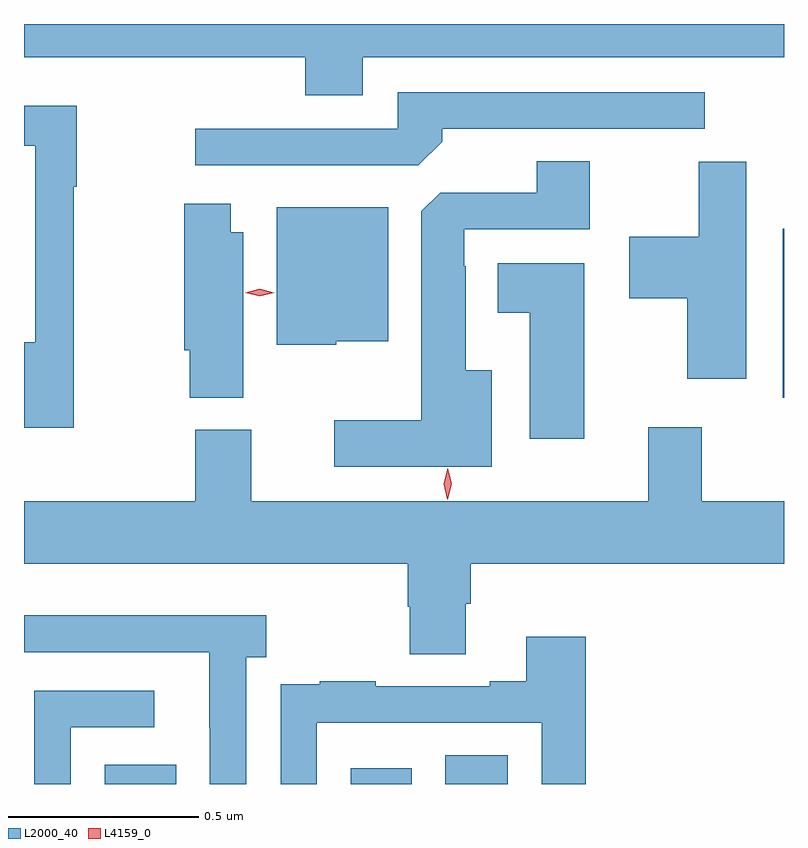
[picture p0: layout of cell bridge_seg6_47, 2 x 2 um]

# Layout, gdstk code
import gdstk
lib = gdstk.Library(unit=1e-6, precision=1e-09)
def R(c, l, rs):  # rectangles x0, y0, x1, y1
    for r in rs: c.add(gdstk.rectangle(r[:2], r[2:], *l))
def P(c, l, *ps):  # polygons
    for p in ps: c.add(gdstk.Polygon(p, *l))
L2000_40 = (2000, 40)
L4159_0 = (4159, 0)

bridge_seg6_47 = lib.new_cell('bridge_seg6_47')
R(bridge_seg6_47, L2000_40, [(1066.229,988.048,1066.417,988.099), (1066.877,988.048,1067.038,988.09), (1067.126,988.048,1067.29,988.124), (1068.014,989.065,1068.017,989.509)])
P(bridge_seg6_47, L2000_40, [(1066.909,989.96),(1068.017,989.96),(1068.017,990.048),(1066.017,990.048),(1066.017,989.96),(1066.757,989.96),(1066.757,989.861),(1066.909,989.861)],
  [(1067.117,989.738),(1067.117,989.772),(1067.809,989.772),(1067.809,989.868),(1067.001,989.868),(1067.001,989.772),(1066.467,989.772),(1066.467,989.676),(1067.055,989.676)],
  [(1066.148,989.62),(1066.156,989.62),(1066.156,989.833),(1066.017,989.833),(1066.017,989.727),(1066.047,989.727),(1066.047,989.211),(1066.017,989.211),(1066.017,988.986),(1066.148,988.986)],
  [(1067.248,989.137),(1067.179,989.137),(1067.179,989.411),(1067.175,989.411),(1067.175,989.508),(1067.506,989.508),(1067.506,989.687),(1067.366,989.687),(1067.366,989.604),(1067.112,989.604),(1067.063,989.555),(1067.063,989.005),(1066.833,989.005),(1066.833,988.883),(1067.248,988.883)],
  [(1067.917,989.686),(1067.792,989.686),(1067.792,989.488),(1067.61,989.488),(1067.61,989.326),(1067.762,989.326),(1067.762,989.115),(1067.917,989.115)],
  [(1066.594,989.5),(1066.561,989.5),(1066.561,989.575),(1066.439,989.575),(1066.439,989.19),(1066.453,989.19),(1066.453,989.065),(1066.594,989.065)],
  [(1066.839,989.213),(1066.975,989.213),(1066.975,989.566),(1066.682,989.566),(1066.682,989.204),(1066.839,989.204)],
  [(1067.491,989.419),(1067.264,989.419),(1067.264,989.288),(1067.348,989.288),(1067.348,988.956),(1067.491,988.956)],
  [(1067.179,988.522),(1067.192,988.522),(1067.192,988.628),(1068.017,988.628),(1068.017,988.792),(1067.8,988.792),(1067.8,988.987),(1067.66,988.987),(1067.66,988.792),(1066.615,988.792),(1066.615,988.98),(1066.468,988.98),(1066.468,988.792),(1066.017,988.792),(1066.017,988.628),(1067.027,988.628),(1067.027,988.515),(1067.032,988.515),(1067.032,988.39),(1067.179,988.39)],
  [(1066.602,988.382),(1066.654,988.382),(1066.654,988.492),(1066.017,988.492),(1066.017,988.395),(1066.505,988.395),(1066.505,988.195),(1066.506,988.195),(1066.506,988.048),(1066.602,988.048)],
  [(1066.788,988.209),(1067.379,988.209),(1067.379,988.048),(1067.495,988.048),(1067.495,988.435),(1067.339,988.435),(1067.339,988.318),(1067.243,988.318),(1067.243,988.305),(1066.943,988.305),(1066.943,988.318),(1066.795,988.318),(1066.795,988.311),(1066.693,988.311),(1066.693,988.202),(1066.692,988.202),(1066.692,988.048),(1066.788,988.048)],
  [(1066.14,988.197),(1066.36,988.197),(1066.36,988.293),(1066.044,988.293),(1066.044,988.048),(1066.14,988.048)])
P(bridge_seg6_47, L4159_0, [(1067.131,988.797),(1067.122,988.838),(1067.132,988.879),(1067.132,988.879),(1067.132,988.879),(1067.142,988.838),(1067.132,988.797),(1067.132,988.797)],
  [(1066.637,989.331),(1066.599,989.341),(1066.598,989.341),(1066.599,989.341),(1066.637,989.351),(1066.676,989.341),(1066.676,989.341),(1066.676,989.341)])

lib.write_gds('bridge_seg6_47.gds')
